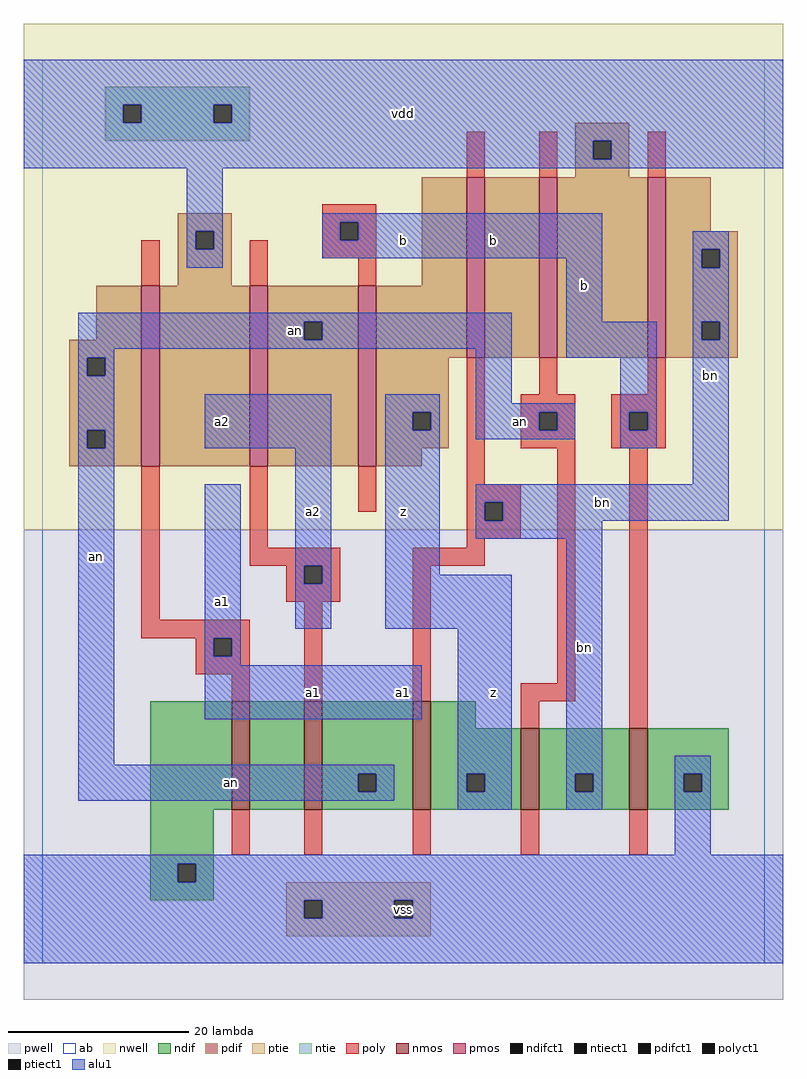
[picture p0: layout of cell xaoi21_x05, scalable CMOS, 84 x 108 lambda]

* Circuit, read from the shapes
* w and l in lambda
.subckt xaoi21_x05 a1 a2 an b bn vdd vss z
M1 n1 a1 vss vss nfet w=12 l=2
M2 an a2 n1 vss nfet w=12 l=2
M3 z bn an vss nfet w=12 l=2
M4 bn an z vss nfet w=9 l=2
M5 vss b bn vss nfet w=9 l=2
M6 vdd a1 an vdd pfet w=20 l=2
M7 an a2 vdd vdd pfet w=20 l=2
M8 z b an vdd pfet w=20 l=2
M9 n2 bn z vdd pfet w=20 l=2
M10 vdd an n2 vdd pfet w=20 l=2
M11 bn b vdd vdd pfet w=20 l=2
.ends

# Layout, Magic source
magic
tech scmos
<< ab >>
rect 0 0 80 100
<< nwell >>
rect -2 48 82 104
<< pwell >>
rect -2 -4 82 48
<< poly >>
rect 47 87 49 92
rect 55 87 57 92
rect 67 87 69 92
rect 11 75 13 80
rect 31 82 37 84
rect 31 80 33 82
rect 35 80 37 82
rect 23 75 25 80
rect 31 78 37 80
rect 35 75 37 78
rect 11 38 13 55
rect 23 46 25 55
rect 35 50 37 55
rect 47 53 49 67
rect 55 63 57 67
rect 67 63 69 67
rect 53 61 59 63
rect 53 59 55 61
rect 57 59 59 61
rect 53 57 59 59
rect 63 61 69 63
rect 63 59 65 61
rect 67 59 69 61
rect 63 57 69 59
rect 47 51 53 53
rect 47 49 49 51
rect 51 49 53 51
rect 47 47 53 49
rect 47 46 49 47
rect 23 44 33 46
rect 27 42 29 44
rect 31 42 33 44
rect 27 40 33 42
rect 41 44 49 46
rect 11 36 23 38
rect 17 34 19 36
rect 21 34 23 36
rect 17 32 23 34
rect 21 29 23 32
rect 29 29 31 40
rect 41 29 43 44
rect 57 31 59 57
rect 53 29 59 31
rect 53 26 55 29
rect 65 26 67 57
rect 21 12 23 17
rect 29 12 31 17
rect 41 12 43 17
rect 53 12 55 17
rect 65 12 67 17
<< ndif >>
rect 12 17 21 29
rect 23 17 29 29
rect 31 21 41 29
rect 31 19 35 21
rect 37 19 41 21
rect 31 17 41 19
rect 43 26 48 29
rect 43 21 53 26
rect 43 19 47 21
rect 49 19 53 21
rect 43 17 53 19
rect 55 21 65 26
rect 55 19 59 21
rect 61 19 65 21
rect 55 17 65 19
rect 67 21 76 26
rect 67 19 71 21
rect 73 19 76 21
rect 67 17 76 19
rect 12 11 19 17
rect 12 9 15 11
rect 17 9 19 11
rect 12 7 19 9
<< pdif >>
rect 59 91 65 93
rect 59 89 61 91
rect 63 89 65 91
rect 59 87 65 89
rect 15 81 21 83
rect 15 79 17 81
rect 19 79 21 81
rect 15 75 21 79
rect 42 75 47 87
rect 6 69 11 75
rect 3 67 11 69
rect 3 65 5 67
rect 7 65 11 67
rect 3 59 11 65
rect 3 57 5 59
rect 7 57 11 59
rect 3 55 11 57
rect 13 55 23 75
rect 25 71 35 75
rect 25 69 29 71
rect 31 69 35 71
rect 25 55 35 69
rect 37 67 47 75
rect 49 67 55 87
rect 57 67 67 87
rect 69 81 74 87
rect 69 79 77 81
rect 69 77 73 79
rect 75 77 77 79
rect 69 71 77 77
rect 69 69 73 71
rect 75 69 77 71
rect 69 67 77 69
rect 37 61 45 67
rect 37 59 41 61
rect 43 59 45 61
rect 37 57 45 59
rect 37 55 42 57
<< alu1 >>
rect -2 95 82 100
rect -2 93 9 95
rect 11 93 19 95
rect 21 93 82 95
rect -2 91 82 93
rect -2 89 61 91
rect 63 89 82 91
rect -2 88 82 89
rect 16 81 20 88
rect 16 79 17 81
rect 19 79 20 81
rect 16 77 20 79
rect 31 82 62 83
rect 31 80 33 82
rect 35 80 62 82
rect 31 78 62 80
rect 4 71 52 72
rect 4 69 29 71
rect 31 69 52 71
rect 4 68 52 69
rect 4 67 8 68
rect 4 65 5 67
rect 7 65 8 67
rect 4 59 8 65
rect 4 57 5 59
rect 7 57 8 59
rect 18 57 32 63
rect 4 22 8 57
rect 18 36 22 53
rect 28 44 32 57
rect 28 42 29 44
rect 31 42 32 44
rect 28 37 32 42
rect 38 61 44 63
rect 38 59 41 61
rect 43 59 44 61
rect 38 43 44 59
rect 48 62 52 68
rect 58 71 62 78
rect 72 79 76 81
rect 72 77 73 79
rect 75 77 76 79
rect 72 71 76 77
rect 58 67 68 71
rect 48 61 59 62
rect 48 59 55 61
rect 57 59 59 61
rect 48 58 59 59
rect 64 61 68 67
rect 64 59 65 61
rect 67 59 68 61
rect 64 57 68 59
rect 72 69 73 71
rect 75 69 76 71
rect 72 53 76 69
rect 48 51 76 53
rect 48 49 49 51
rect 51 49 76 51
rect 48 47 62 49
rect 38 37 52 43
rect 18 34 19 36
rect 21 34 22 36
rect 18 33 22 34
rect 18 27 42 33
rect 4 21 39 22
rect 4 19 35 21
rect 37 19 39 21
rect 4 18 39 19
rect 46 21 52 37
rect 46 19 47 21
rect 49 19 52 21
rect 46 17 52 19
rect 58 21 62 47
rect 58 19 59 21
rect 61 19 62 21
rect 58 17 62 19
rect 70 21 74 23
rect 70 19 71 21
rect 73 19 74 21
rect 70 12 74 19
rect -2 11 82 12
rect -2 9 15 11
rect 17 9 82 11
rect -2 7 82 9
rect -2 5 29 7
rect 31 5 39 7
rect 41 5 82 7
rect -2 0 82 5
<< ptie >>
rect 27 7 43 9
rect 27 5 29 7
rect 31 5 39 7
rect 41 5 43 7
rect 27 3 43 5
<< ntie >>
rect 7 95 23 97
rect 7 93 9 95
rect 11 93 19 95
rect 21 93 23 95
rect 7 91 23 93
<< nmos >>
rect 21 17 23 29
rect 29 17 31 29
rect 41 17 43 29
rect 53 17 55 26
rect 65 17 67 26
<< pmos >>
rect 11 55 13 75
rect 23 55 25 75
rect 35 55 37 75
rect 47 67 49 87
rect 55 67 57 87
rect 67 67 69 87
<< polyct1 >>
rect 33 80 35 82
rect 55 59 57 61
rect 65 59 67 61
rect 49 49 51 51
rect 29 42 31 44
rect 19 34 21 36
<< ndifct1 >>
rect 35 19 37 21
rect 47 19 49 21
rect 59 19 61 21
rect 71 19 73 21
rect 15 9 17 11
<< ntiect1 >>
rect 9 93 11 95
rect 19 93 21 95
<< ptiect1 >>
rect 29 5 31 7
rect 39 5 41 7
<< pdifct1 >>
rect 61 89 63 91
rect 17 79 19 81
rect 5 65 7 67
rect 5 57 7 59
rect 29 69 31 71
rect 73 77 75 79
rect 73 69 75 71
rect 41 59 43 61
<< labels >>
rlabel alu1 6 45 6 45 6 an
rlabel alu1 20 40 20 40 6 a1
rlabel alu1 20 60 20 60 6 a2
rlabel ptiect1 40 6 40 6 6 vss
rlabel alu1 21 20 21 20 6 an
rlabel alu1 30 30 30 30 6 a1
rlabel alu1 40 30 40 30 6 a1
rlabel alu1 30 50 30 50 6 a2
rlabel alu1 40 50 40 50 6 z
rlabel alu1 40 80 40 80 6 b
rlabel alu1 40 94 40 94 6 vdd
rlabel alu1 50 30 50 30 6 z
rlabel alu1 60 35 60 35 6 bn
rlabel alu1 53 60 53 60 6 an
rlabel alu1 28 70 28 70 6 an
rlabel alu1 60 75 60 75 6 b
rlabel alu1 50 80 50 80 6 b
rlabel alu1 62 51 62 51 6 bn
rlabel alu1 74 65 74 65 6 bn
<< end >>
